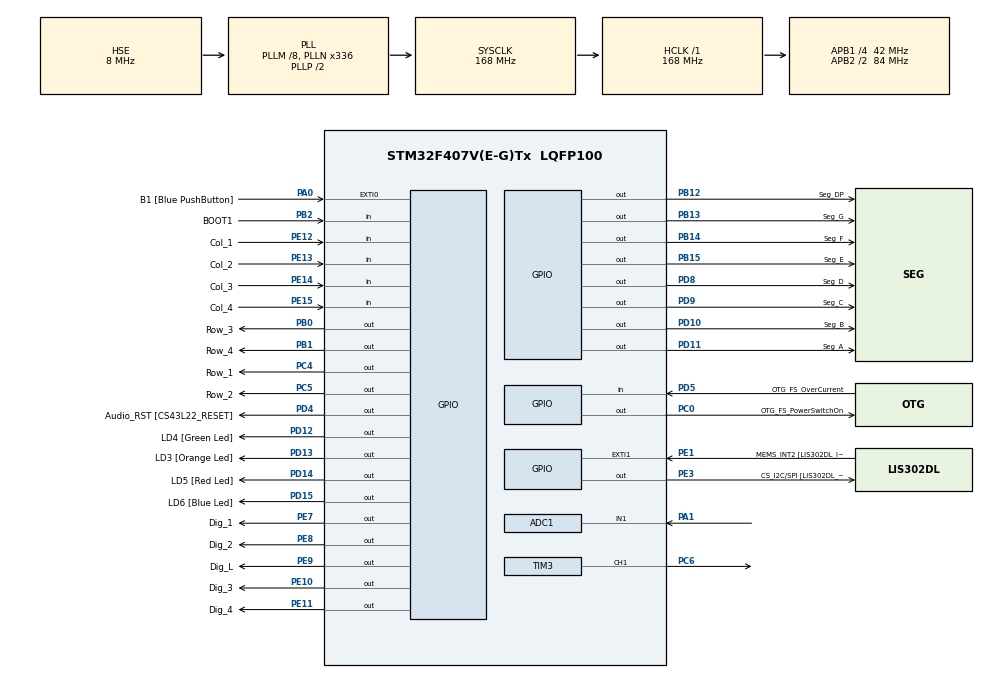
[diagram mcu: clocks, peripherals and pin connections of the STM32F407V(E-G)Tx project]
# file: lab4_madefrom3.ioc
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ADC1.Channel-0\#ChannelRegularConversion=ADC_CHANNEL_1
ADC1.ClockPrescaler=ADC_CLOCK_SYNC_PCLK_DIV4
ADC1.ContinuousConvMode=DISABLE
ADC1.DMAContinuousRequests=DISABLE
ADC1.DataAlign=ADC_DATAALIGN_RIGHT
ADC1.DiscontinuousConvMode=DISABLE
ADC1.EOCSelection=ADC_EOC_SINGLE_CONV
ADC1.EnableAnalogWatchDog=false
ADC1.ExternalTrigConv=ADC_EXTERNALTRIGCONV_T2_TRGO
ADC1.ExternalTrigConvEdge=ADC_EXTERNALTRIGCONVEDGE_RISING
ADC1.InjNumberOfConversion=0
ADC1.NbrOfConversion=1
ADC1.NbrOfConversionFlag=1
ADC1.Rank-0\#ChannelRegularConversion=1
ADC1.Resolution=ADC_RESOLUTION_10B
ADC1.SamplingTime-0\#ChannelRegularConversion=ADC_SAMPLETIME_3CYCLES
ADC1.ScanConvMode=DISABLE
ADC1.master=1
FREERTOS.BinarySemaphores01=key_sem,Dynamic,NULL
FREERTOS.Tasks01=defaultTask,0,128,StartDefaultTask,Default,NULL,Dynamic,NULL,NULL;ADC_calc,-3,256,Start_ADC_calc,Default,NULL,Dynamic,NULL,NULL;display,-3,128,Start_display,Default,NULL,Dynamic,NULL,NULL;PWM_control,-3,256,Start_PWM_control,Default,NULL,Dynamic,NULL,NULL;state_control,0,256,Start_state_control,Default,NULL,Dynamic,NULL,NULL;pad_read,-3,256,Start_pad_read,Default,NULL,Dynamic,NULL,NULL
Mcu.Family=STM32F4
Mcu.Name=STM32F407V(E-G)Tx
Mcu.Package=LQFP100
NVIC.ADC_IRQn=true\:5\:0\:false\:false\:true\:true\:true
NVIC.PriorityGroup=NVIC_PRIORITYGROUP_4
NVIC.TIM2_IRQn=true\:5\:0\:false\:false\:true\:true\:true
PA0-WKUP.GPIO_Label=B1 [Blue PushButton]
PA0-WKUP.GPIO_ModeDefaultEXTI=GPIO_MODE_EVT_RISING
PA0-WKUP.GPIO_PuPd=GPIO_NOPULL
PA0-WKUP.Signal=GPXTI0
PA1.Signal=ADCx_IN1
PA10.GPIO_Label=OTG_FS_ID
PA10.GPIO_Mode=GPIO_MODE_AF_PP
PA10.GPIO_PuPd=GPIO_NOPULL
PA10.GPIO_Speed=GPIO_SPEED_FREQ_LOW
PA10.Signal=USB_OTG_FS_ID
PA11.GPIO_Label=OTG_FS_DM
PA11.GPIO_Mode=GPIO_MODE_AF_PP
PA11.GPIO_PuPd=GPIO_NOPULL
PA11.GPIO_Speed=GPIO_SPEED_FREQ_LOW
PA11.Signal=USB_OTG_FS_DM
PA12.GPIO_Label=OTG_FS_DP
PA12.GPIO_Mode=GPIO_MODE_AF_PP
PA12.GPIO_PuPd=GPIO_NOPULL
PA12.GPIO_Speed=GPIO_SPEED_FREQ_LOW
PA12.Signal=USB_OTG_FS_DP
PA13.GPIO_Label=SWDIO
PA13.Mode=Serial_Wire
PA13.Signal=SYS_JTMS-SWDIO
PA14.GPIO_Label=SWCLK
PA14.Mode=Serial_Wire
PA14.Signal=SYS_JTCK-SWCLK
PA4.GPIO_Label=I2S3_WS [CS43L22_LRCK]
PA4.GPIO_Mode=GPIO_MODE_AF_PP
PA4.GPIO_PuPd=GPIO_NOPULL
PA4.GPIO_Speed=GPIO_SPEED_FREQ_LOW
PA4.Signal=I2S3_WS
PA5.GPIO_Label=SPI1_SCK [LIS302DL_SCL/SPC]
PA5.GPIO_Mode=GPIO_MODE_AF_PP
PA5.GPIO_PuPd=GPIO_NOPULL
PA5.GPIO_Speed=GPIO_SPEED_FREQ_LOW
PA5.Signal=SPI1_SCK
PA6.GPIO_Label=SPI1_MISO [LIS302DL_SDO]
PA6.GPIO_Mode=GPIO_MODE_AF_PP
PA6.GPIO_PuPd=GPIO_NOPULL
PA6.GPIO_Speed=GPIO_SPEED_FREQ_LOW
PA6.Signal=SPI1_MISO
PA7.GPIO_Label=SPI1_MOSI [LIS302DL_SDA/SDI/SDO]
PA7.GPIO_Mode=GPIO_MODE_AF_PP
PA7.GPIO_PuPd=GPIO_NOPULL
PA7.GPIO_Speed=GPIO_SPEED_FREQ_LOW
PA7.Signal=SPI1_MOSI
PA9.GPIO_Label=VBUS_FS
PA9.GPIO_Mode=GPIO_MODE_INPUT
PA9.GPIO_PuPd=GPIO_NOPULL
PA9.Signal=USB_OTG_FS_VBUS
PB0.GPIO_Label=Row_3
PB0.Signal=GPIO_Output
PB1.GPIO_Label=Row_4
PB1.Signal=GPIO_Output
PB10.GPIO_Label=CLK_IN [MP45DT02_CLK]
PB10.GPIO_Mode=GPIO_MODE_AF_PP
PB10.GPIO_PuPd=GPIO_NOPULL
PB10.GPIO_Speed=GPIO_SPEED_FREQ_LOW
PB10.Signal=I2S2_CK
PB12.GPIO_Label=Seg_DP
PB12.Signal=GPIO_Output
PB13.GPIO_Label=Seg_G
PB13.Signal=GPIO_Output
PB14.GPIO_Label=Seg_F
PB14.Signal=GPIO_Output
PB15.GPIO_Label=Seg_E
PB15.Signal=GPIO_Output
PB2.GPIO_Label=BOOT1
PB2.GPIO_Mode=GPIO_MODE_INPUT
PB2.GPIO_PuPd=GPIO_NOPULL
PB2.Signal=GPIO_Input
PB3.GPIO_Label=SWO
PB3.Signal=SYS_JTDO-SWO
PB6.GPIO_Label=Audio_SCL [CS43L22_SCL]
PB6.GPIO_Mode=GPIO_MODE_AF_OD
PB6.GPIO_PuPd=GPIO_NOPULL
PB6.GPIO_Speed=GPIO_SPEED_FREQ_LOW
PB6.Signal=I2C1_SCL
PB9.GPIO_Label=Audio_SDA [CS43L22_SDA]
PB9.GPIO_Mode=GPIO_MODE_AF_OD
PB9.GPIO_PuPd=GPIO_NOPULL
PB9.GPIO_Speed=GPIO_SPEED_FREQ_LOW
PB9.Signal=I2C1_SDA
PC0.GPIO_Label=OTG_FS_PowerSwitchOn
PC0.GPIO_PuPd=GPIO_NOPULL
PC0.GPIO_Speed=GPIO_SPEED_FREQ_LOW
PC0.PinState=GPIO_PIN_SET
PC0.Signal=GPIO_Output
PC10.GPIO_Label=I2S3_SCK [CS43L22_SCLK]
PC10.GPIO_Mode=GPIO_MODE_AF_PP
PC10.GPIO_PuPd=GPIO_NOPULL
PC10.GPIO_Speed=GPIO_SPEED_FREQ_LOW
PC10.Signal=I2S3_CK
PC12.GPIO_Label=I2S3_SD [CS43L22_SDIN]
PC12.GPIO_Mode=GPIO_MODE_AF_PP
PC12.GPIO_PuPd=GPIO_NOPULL
PC12.GPIO_Speed=GPIO_SPEED_FREQ_LOW
PC12.Signal=I2S3_SD
PC14-OSC32_IN.GPIO_Label=PC14-OSC32_IN
PC14-OSC32_IN.Mode=LSE-External-Oscillator
PC14-OSC32_IN.Signal=RCC_OSC32_IN
PC15-OSC32_OUT.GPIO_Label=PC15-OSC32_OUT
PC15-OSC32_OUT.Mode=LSE-External-Oscillator
PC15-OSC32_OUT.Signal=RCC_OSC32_OUT
PC3.GPIO_Label=PDM_OUT [MP45DT02_DOUT]
PC3.GPIO_Mode=GPIO_MODE_AF_PP
PC3.GPIO_PuPd=GPIO_NOPULL
PC3.GPIO_Speed=GPIO_SPEED_FREQ_LOW
PC3.Signal=I2S2_SD
PC4.GPIO_Label=Row_1
PC4.Signal=GPIO_Output
PC5.GPIO_Label=Row_2
PC5.Signal=GPIO_Output
PC6.Signal=S_TIM3_CH1
PC7.GPIO_Label=I2S3_MCK [CS43L22_MCLK]
PC7.GPIO_Mode=GPIO_MODE_AF_PP
PC7.GPIO_PuPd=GPIO_NOPULL
PC7.GPIO_Speed=GPIO_SPEED_FREQ_LOW
PC7.Signal=I2S3_MCK
PD10.GPIO_Label=Seg_B
PD10.Signal=GPIO_Output
PD11.GPIO_Label=Seg_A
PD11.Signal=GPIO_Output
PD12.GPIO_Label=LD4 [Green Led]
PD12.GPIO_PuPd=GPIO_NOPULL
PD12.GPIO_Speed=GPIO_SPEED_FREQ_LOW
PD12.Signal=GPIO_Output
PD13.GPIO_Label=LD3 [Orange Led]
PD13.GPIO_PuPd=GPIO_NOPULL
PD13.GPIO_Speed=GPIO_SPEED_FREQ_LOW
PD13.Signal=GPIO_Output
PD14.GPIO_Label=LD5 [Red Led]
PD14.GPIO_PuPd=GPIO_NOPULL
PD14.GPIO_Speed=GPIO_SPEED_FREQ_LOW
PD14.Signal=GPIO_Output
PD15.GPIO_Label=LD6 [Blue Led]
PD15.GPIO_PuPd=GPIO_NOPULL
PD15.GPIO_Speed=GPIO_SPEED_FREQ_LOW
PD15.Signal=GPIO_Output
PD4.GPIO_Label=Audio_RST [CS43L22_RESET]
PD4.GPIO_PuPd=GPIO_NOPULL
PD4.GPIO_Speed=GPIO_SPEED_FREQ_LOW
PD4.Signal=GPIO_Output
PD5.GPIO_Label=OTG_FS_OverCurrent
PD5.GPIO_Mode=GPIO_MODE_INPUT
PD5.GPIO_PuPd=GPIO_NOPULL
PD5.Signal=GPIO_Input
PD8.GPIO_Label=Seg_D
PD8.Signal=GPIO_Output
PD9.GPIO_Label=Seg_C
PD9.Signal=GPIO_Output
PE1.GPIO_Label=MEMS_INT2 [LIS302DL_INT2]
PE1.GPIO_ModeDefaultEXTI=GPIO_MODE_EVT_RISING
PE1.GPIO_PuPd=GPIO_NOPULL
PE1.Signal=GPXTI1
PE10.GPIO_Label=Dig_3
PE10.Signal=GPIO_Output
PE11.GPIO_Label=Dig_4
PE11.Signal=GPIO_Output
PE12.GPIO_Label=Col_1
PE12.Signal=GPIO_Input
PE13.GPIO_Label=Col_2
PE13.Signal=GPIO_Input
PE14.GPIO_Label=Col_3
PE14.Signal=GPIO_Input
PE15.GPIO_Label=Col_4
PE15.Signal=GPIO_Input
PE3.GPIO_Label=CS_I2C/SPI [LIS302DL_CS_I2C/SPI]
PE3.GPIO_PuPd=GPIO_NOPULL
PE3.GPIO_Speed=GPIO_SPEED_FREQ_LOW
PE3.Signal=GPIO_Output
PE7.GPIO_Label=Dig_1
PE7.Signal=GPIO_Output
PE8.GPIO_Label=Dig_2
PE8.Signal=GPIO_Output
PE9.GPIO_Label=Dig_L
PE9.Signal=GPIO_Output
PH0-OSC_IN.GPIO_Label=PH0-OSC_IN
PH0-OSC_IN.Mode=HSE-External-Oscillator
PH0-OSC_IN.Signal=RCC_OSC_IN
PH1-OSC_OUT.GPIO_Label=PH1-OSC_OUT
PH1-OSC_OUT.Mode=HSE-External-Oscillator
PH1-OSC_OUT.Signal=RCC_OSC_OUT
ProjectManager.HeapSize=0x200
ProjectManager.StackSize=0x400
ProjectManager.TargetToolchain=MDK-ARM V5
RCC.48MHZClocksFreq_Value=48000000
RCC.AHBFreq_Value=168000000
RCC.APB1CLKDivider=RCC_HCLK_DIV4
RCC.APB1Freq_Value=42000000
RCC.APB1TimFreq_Value=84000000
RCC.APB2CLKDivider=RCC_HCLK_DIV2
RCC.APB2Freq_Value=84000000
RCC.APB2TimFreq_Value=168000000
RCC.CortexFreq_Value=168000000
RCC.HCLKFreq_Value=168000000
RCC.HSE_VALUE=8000000
RCC.HSI_VALUE=16000000
RCC.PLLM=8
RCC.PLLN=336
RCC.PLLQ=7
RCC.PLLSourceVirtual=RCC_PLLSOURCE_HSE
RCC.SYSCLKFreq_VALUE=168000000
RCC.SYSCLKSource=RCC_SYSCLKSOURCE_PLLCLK
RCC.VCOOutputFreq_Value=336000000
SH.ADCx_IN1.0=ADC1_IN1,IN1
SH.S_TIM3_CH1.0=TIM3_CH1,PWM Generation1 CH1
TIM2.Period=1000
TIM2.Prescaler=82
TIM2.TIM_MasterOutputTrigger=TIM_TRGO_UPDATE
TIM3.Channel-PWM\ Generation1\ CH1=TIM_CHANNEL_1
TIM3.Period=1000
TIM3.Prescaler=42
TIM3.Pulse-PWM\ Generation1\ CH1=50
VP_FREERTOS_VS_ENABLE.Mode=Enabled
VP_TIM2_VS_ClockSourceINT.Mode=Internal
VP_TIM3_VS_ClockSourceINT.Mode=Internal
board=STM32F4DISCOVERY

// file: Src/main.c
/**
  ******************************************************************************
  * @file           : main.c
  * @brief          : Main program body
  ******************************************************************************
  * This notice applies to any and all portions of this file
  * that are not between comment pairs USER CODE BEGIN and
  * USER CODE END. Other portions of this file, whether
  * inserted by the user or by software development tools
  * are owned by their respective copyright owners.
  *
  * Copyright (c) 2018 STMicroelectronics International N.V.
  * All rights reserved.
  *
  * Redistribution and use in source and binary forms, with or without
  * modification, are permitted, provided that the following conditions are met:
  *
  * 1. Redistribution of source code must retain the above copyright notice,
  *    this list of conditions and the following disclaimer.
  * 2. Redistributions in binary form must reproduce the above copyright notice,
  *    this list of conditions and the following disclaimer in the documentation
  *    and/or other materials provided with the distribution.
  * 3. Neither the name of STMicroelectronics nor the names of other
  *    contributors to this software may be used to endorse or promote products
  *    derived from this software without specific written permission.
  * 4. This software, including modifications and/or derivative works of this
  *    software, must execute solely and exclusively on microcontroller or
  *    microprocessor devices manufactured by or for STMicroelectronics.
  * 5. Redistribution and use of this software other than as permitted under
  *    this license is void and will automatically terminate your rights under
  *    this license.
  *
  * THIS SOFTWARE IS PROVIDED BY STMICROELECTRONICS AND CONTRIBUTORS "AS IS"
  * AND ANY EXPRESS, IMPLIED OR STATUTORY WARRANTIES, INCLUDING, BUT NOT
  * LIMITED TO, THE IMPLIED WARRANTIES OF MERCHANTABILITY, FITNESS FOR A
  * PARTICULAR PURPOSE AND NON-INFRINGEMENT OF THIRD PARTY INTELLECTUAL PROPERTY
  * RIGHTS ARE DISCLAIMED TO THE FULLEST EXTENT PERMITTED BY LAW. IN NO EVENT
  * SHALL STMICROELECTRONICS OR CONTRIBUTORS BE LIABLE FOR ANY DIRECT, INDIRECT,
  * INCIDENTAL, SPECIAL, EXEMPLARY, OR CONSEQUENTIAL DAMAGES (INCLUDING, BUT NOT
  * LIMITED TO, PROCUREMENT OF SUBSTITUTE GOODS OR SERVICES; LOSS OF USE, DATA,
  * OR PROFITS; OR BUSINESS INTERRUPTION) HOWEVER CAUSED AND ON ANY THEORY OF
  * LIABILITY, WHETHER IN CONTRACT, STRICT LIABILITY, OR TORT (INCLUDING
  * NEGLIGENCE OR OTHERWISE) ARISING IN ANY WAY OUT OF THE USE OF THIS SOFTWARE,
  * EVEN IF ADVISED OF THE POSSIBILITY OF SUCH DAMAGE.
  *
  ******************************************************************************
  */
#include "main.h"
#include "stm32f4xx_hal.h"
#include "cmsis_os.h"

/* USER CODE BEGIN Includes */
#include <math.h>
/* USER CODE END Includes */

ADC_HandleTypeDef hadc1;

TIM_HandleTypeDef htim2;
TIM_HandleTypeDef htim3;

osThreadId defaultTaskHandle;
osThreadId ADC_calcHandle;
osThreadId displayHandle;
osThreadId PWM_controlHandle;
osThreadId state_controlHandle;
osThreadId pad_readHandle;
osSemaphoreId key_semHandle;

/* USER CODE BEGIN PV */
/* Private variables ---------------------------------------------------------*/

int sampleNB = 40; //CHANGE FOR SAMPLE NUMBER
int sample = 0;

uint16_t dutyCycle = 10;

#define MATH_ARRAY_SIZE 5
#define WKEY1 0
#define WKEY2 1
#define WENTER 2
#define DISPLAY 3
#define SLEEP 4
#define samplesize 40

int correctCounter=0;
int correctPeriod = 5;

int displayMode = 0;
float filterMemory [] = {0, 0, 0, 0, 0};
int adc_val;
float filtered_adc;
float mathResults [MATH_ARRAY_SIZE];
extern uint8_t systickFlag;

float dispNum = 0;
int padEntries [] = {0, 0, 0, 0};
int padVal = -1;

int padFlag = 0;
int holdingFlag = 0;
int correctFlag = 0;
int timer = 0;

int holdCount = 0;
int highPeriods = 100;
int state = WKEY1;

float data [samplesize];

/* USER CODE END PV */

void SystemClock_Config(void);
static void MX_GPIO_Init(void);
static void MX_ADC1_Init(void);
static void MX_TIM3_Init(void);
static void MX_TIM2_Init(void);
void StartDefaultTask(void const * argument);
void Start_ADC_calc(void const * argument);
void Start_display(void const * argument);
void Start_PWM_control(void const * argument);
void Start_state_control(void const * argument);
void Start_pad_read(void const * argument);

void HAL_TIM_MspPostInit(TIM_HandleTypeDef *htim);

/* USER CODE BEGIN PFP */
/* Private function prototypes -----------------------------------------------*/

void FIR_C(float input, float *output);
int buttonPressed(void);
void displayNum (int num, int pos);
void C_math (float * inputArray, float * outputArray, int length);
void display (int mode, float num);
int readPad (void);
void updateEnt (int newEnt);
void pwmSetValue(uint16_t pulseValue);
void set_highPeriods(int current_period);

/* USER CODE END PFP */

int main(void)
{

  /* MCU Configuration----------------------------------------------------------*/

  /* Reset of all peripherals, Initializes the Flash interface and the Systick. */
  HAL_Init();

  /* Configure the system clock */
  SystemClock_Config();

  /* Initialize all configured peripherals */
  MX_GPIO_Init();
  MX_ADC1_Init();
  MX_TIM3_Init();
  MX_TIM2_Init();
  /* USER CODE BEGIN 2 */

	HAL_TIM_PWM_Start(&htim3, TIM_CHANNEL_1);
	HAL_TIM_Base_Start(&htim2);
	HAL_ADC_Start_IT(&hadc1);

  /* USER CODE END 2 */

  /* Create the semaphores(s) */
  /* definition and creation of key_sem */
  osSemaphoreDef(key_sem);
  key_semHandle = osSemaphoreCreate(osSemaphore(key_sem), 1);

  /* Create the thread(s) */
  /* definition and creation of defaultTask */
  osThreadDef(defaultTask, StartDefaultTask, osPriorityNormal, 0, 128);
  defaultTaskHandle = osThreadCreate(osThread(defaultTask), NULL);

  /* definition and creation of ADC_calc */
  osThreadDef(ADC_calc, Start_ADC_calc, osPriorityIdle, 0, 256);
  ADC_calcHandle = osThreadCreate(osThread(ADC_calc), NULL);

  /* definition and creation of display */
  osThreadDef(display, Start_display, osPriorityIdle, 0, 128);
  displayHandle = osThreadCreate(osThread(display), NULL);

  /* definition and creation of PWM_control */
  osThreadDef(PWM_control, Start_PWM_control, osPriorityIdle, 0, 256);
  PWM_controlHandle = osThreadCreate(osThread(PWM_control), NULL);

  /* definition and creation of state_control */
  osThreadDef(state_control, Start_state_control, osPriorityNormal, 0, 256);
  state_controlHandle = osThreadCreate(osThread(state_control), NULL);

  /* definition and creation of pad_read */
  osThreadDef(pad_read, Start_pad_read, osPriorityIdle, 0, 256);
  pad_readHandle = osThreadCreate(osThread(pad_read), NULL);

  /* Start scheduler */
  osKernelStart();

  /* We should never get here as control is now taken by the scheduler */

  /* Infinite loop */
  while (1)
  {

  }

}

void SystemClock_Config(void)
{

  RCC_OscInitTypeDef RCC_OscInitStruct;
  RCC_ClkInitTypeDef RCC_ClkInitStruct;

    /**Configure the main internal regulator output voltage
    */
  __HAL_RCC_PWR_CLK_ENABLE();

  __HAL_PWR_VOLTAGESCALING_CONFIG(PWR_REGULATOR_VOLTAGE_SCALE1);

    /**Initializes the CPU, AHB and APB busses clocks
    */
  RCC_OscInitStruct.OscillatorType = RCC_OSCILLATORTYPE_HSE;
  RCC_OscInitStruct.HSEState = RCC_HSE_ON;
  RCC_OscInitStruct.PLL.PLLState = RCC_PLL_ON;
  RCC_OscInitStruct.PLL.PLLSource = RCC_PLLSOURCE_HSE;
  RCC_OscInitStruct.PLL.PLLM = 8;
  RCC_OscInitStruct.PLL.PLLN = 336;
  RCC_OscInitStruct.PLL.PLLP = RCC_PLLP_DIV2;
  RCC_OscInitStruct.PLL.PLLQ = 7;
  if (HAL_RCC_OscConfig(&RCC_OscInitStruct) != HAL_OK)
  {
    _Error_Handler(__FILE__, __LINE__);
  }

    /**Initializes the CPU, AHB and APB busses clocks
    */
  RCC_ClkInitStruct.ClockType = RCC_CLOCKTYPE_HCLK|RCC_CLOCKTYPE_SYSCLK
                              |RCC_CLOCKTYPE_PCLK1|RCC_CLOCKTYPE_PCLK2;
  RCC_ClkInitStruct.SYSCLKSource = RCC_SYSCLKSOURCE_PLLCLK;
  RCC_ClkInitStruct.AHBCLKDivider = RCC_SYSCLK_DIV1;
  RCC_ClkInitStruct.APB1CLKDivider = RCC_HCLK_DIV4;
  RCC_ClkInitStruct.APB2CLKDivider = RCC_HCLK_DIV2;

  if (HAL_RCC_ClockConfig(&RCC_ClkInitStruct, FLASH_LATENCY_5) != HAL_OK)
  {
    _Error_Handler(__FILE__, __LINE__);
  }

    /**Configure the Systick interrupt time
    */
  HAL_SYSTICK_Config(HAL_RCC_GetHCLKFreq()/1000);

    /**Configure the Systick
    */
  HAL_SYSTICK_CLKSourceConfig(SYSTICK_CLKSOURCE_HCLK);

  /* SysTick_IRQn interrupt configuration */
  HAL_NVIC_SetPriority(SysTick_IRQn, 15, 0);
}

/* ADC1 init function */
static void MX_ADC1_Init(void)
{

  ADC_ChannelConfTypeDef sConfig;

    /**Configure the global features of the ADC (Clock, Resolution, Data Alignment and number of conversion)
    */
  hadc1.Instance = ADC1;
  hadc1.Init.ClockPrescaler = ADC_CLOCK_SYNC_PCLK_DIV4;
  hadc1.Init.Resolution = ADC_RESOLUTION_12B;
  hadc1.Init.ScanConvMode = DISABLE;
  hadc1.Init.ContinuousConvMode = DISABLE;
  hadc1.Init.DiscontinuousConvMode = DISABLE;
  hadc1.Init.ExternalTrigConvEdge = ADC_EXTERNALTRIGCONVEDGE_RISING;
  hadc1.Init.ExternalTrigConv = ADC_EXTERNALTRIGCONV_T2_TRGO;
  hadc1.Init.DataAlign = ADC_DATAALIGN_RIGHT;
  hadc1.Init.NbrOfConversion = 1;
  hadc1.Init.DMAContinuousRequests = DISABLE;
  hadc1.Init.EOCSelection = ADC_EOC_SINGLE_CONV;
  if (HAL_ADC_Init(&hadc1) != HAL_OK)
  {
    _Error_Handler(__FILE__, __LINE__);
  }

    /**Configure for the selected ADC regular channel its corresponding rank in the sequencer and its sample time.
    */
  sConfig.Channel = ADC_CHANNEL_1;
  sConfig.Rank = 1;
  sConfig.SamplingTime = ADC_SAMPLETIME_3CYCLES;
  if (HAL_ADC_ConfigChannel(&hadc1, &sConfig) != HAL_OK)
  {
    _Error_Handler(__FILE__, __LINE__);
  }

}

/* TIM2 init function */
static void MX_TIM2_Init(void)
{

  TIM_ClockConfigTypeDef sClockSourceConfig;
  TIM_MasterConfigTypeDef sMasterConfig;

  htim2.Instance = TIM2;
  htim2.Init.Prescaler = 82;
  htim2.Init.CounterMode = TIM_COUNTERMODE_UP;
  htim2.Init.Period = 1000;
  htim2.Init.ClockDivision = TIM_CLOCKDIVISION_DIV1;
  if (HAL_TIM_Base_Init(&htim2) != HAL_OK)
  {
    _Error_Handler(__FILE__, __LINE__);
  }

  sClockSourceConfig.ClockSource = TIM_CLOCKSOURCE_INTERNAL;
  if (HAL_TIM_ConfigClockSource(&htim2, &sClockSourceConfig) != HAL_OK)
  {
    _Error_Handler(__FILE__, __LINE__);
  }

  sMasterConfig.MasterOutputTrigger = TIM_TRGO_UPDATE;
  sMasterConfig.MasterSlaveMode = TIM_MASTERSLAVEMODE_DISABLE;
  if (HAL_TIMEx_MasterConfigSynchronization(&htim2, &sMasterConfig) != HAL_OK)
  {
    _Error_Handler(__FILE__, __LINE__);
  }

}

/* TIM3 init function */
static void MX_TIM3_Init(void)
{

  TIM_ClockConfigTypeDef sClockSourceConfig;
  TIM_MasterConfigTypeDef sMasterConfig;
  TIM_OC_InitTypeDef sConfigOC;

  htim3.Instance = TIM3;
  htim3.Init.Prescaler = 42;
  htim3.Init.CounterMode = TIM_COUNTERMODE_UP;
  htim3.Init.Period = 1000;
  htim3.Init.ClockDivision = TIM_CLOCKDIVISION_DIV1;
  if (HAL_TIM_Base_Init(&htim3) != HAL_OK)
  {
    _Error_Handler(__FILE__, __LINE__);
  }

  sClockSourceConfig.ClockSource = TIM_CLOCKSOURCE_INTERNAL;
  if (HAL_TIM_ConfigClockSource(&htim3, &sClockSourceConfig) != HAL_OK)
  {
    _Error_Handler(__FILE__, __LINE__);
  }

  if (HAL_TIM_PWM_Init(&htim3) != HAL_OK)
  {
    _Error_Handler(__FILE__, __LINE__);
  }

  sMasterConfig.MasterOutputTrigger = TIM_TRGO_RESET;
  sMasterConfig.MasterSlaveMode = TIM_MASTERSLAVEMODE_DISABLE;
  if (HAL_TIMEx_MasterConfigSynchronization(&htim3, &sMasterConfig) != HAL_OK)
  {
    _Error_Handler(__FILE__, __LINE__);
  }

  sConfigOC.OCMode = TIM_OCMODE_PWM1;
  sConfigOC.Pulse = 50;
  sConfigOC.OCPolarity = TIM_OCPOLARITY_HIGH;
  sConfigOC.OCFastMode = TIM_OCFAST_DISABLE;
  if (HAL_TIM_PWM_ConfigChannel(&htim3, &sConfigOC, TIM_CHANNEL_1) != HAL_OK)
  {
    _Error_Handler(__FILE__, __LINE__);
  }

  HAL_TIM_MspPostInit(&htim3);

}

/** Configure pins as
        * Analog
        * Input
        * Output
        * EVENT_OUT
        * EXTI
     PC3   ------> I2S2_SD
     PA4   ------> I2S3_WS
     PA5   ------> SPI1_SCK
     PA6   ------> SPI1_MISO
     PA7   ------> SPI1_MOSI
     PB10   ------> I2S2_CK
     PC7   ------> I2S3_MCK
     PA9   ------> USB_OTG_FS_VBUS
     PA10   ------> USB_OTG_FS_ID
     PA11   ------> USB_OTG_FS_DM
     PA12   ------> USB_OTG_FS_DP
     PC10   ------> I2S3_CK
     PC12   ------> I2S3_SD
     PB6   ------> I2C1_SCL
     PB9   ------> I2C1_SDA
*/
static void MX_GPIO_Init(void)
{

  GPIO_InitTypeDef GPIO_InitStruct;

  /* GPIO Ports Clock Enable */
  __HAL_RCC_GPIOE_CLK_ENABLE();
  __HAL_RCC_GPIOC_CLK_ENABLE();
  __HAL_RCC_GPIOH_CLK_ENABLE();
  __HAL_RCC_GPIOA_CLK_ENABLE();
  __HAL_RCC_GPIOB_CLK_ENABLE();
  __HAL_RCC_GPIOD_CLK_ENABLE();

  /*Configure GPIO pin Output Level */
  HAL_GPIO_WritePin(GPIOE, CS_I2C_SPI_Pin|Dig_1_Pin|Dig_2_Pin|Dig_L_Pin
                          |Dig_3_Pin|Dig_4_Pin, GPIO_PIN_RESET);

  /*Configure GPIO pin Output Level */
  HAL_GPIO_WritePin(OTG_FS_PowerSwitchOn_GPIO_Port, OTG_FS_PowerSwitchOn_Pin, GPIO_PIN_SET);

  /*Configure GPIO pin Output Level */
  HAL_GPIO_WritePin(GPIOC, Row_1_Pin|Row_2_Pin, GPIO_PIN_RESET);

  /*Configure GPIO pin Output Level */
  HAL_GPIO_WritePin(GPIOB, Row_3_Pin|Row_4_Pin|Seg_DP_Pin|Seg_G_Pin
                          |Seg_F_Pin|Seg_E_Pin, GPIO_PIN_RESET);

  /*Configure GPIO pin Output Level */
  HAL_GPIO_WritePin(GPIOD, Seg_D_Pin|Seg_C_Pin|Seg_B_Pin|Seg_A_Pin
                          |LD4_Pin|LD3_Pin|LD5_Pin|LD6_Pin
                          |Audio_RST_Pin, GPIO_PIN_RESET);

  /*Configure GPIO pins : CS_I2C_SPI_Pin Dig_1_Pin Dig_2_Pin Dig_L_Pin
                           Dig_3_Pin Dig_4_Pin */
  GPIO_InitStruct.Pin = CS_I2C_SPI_Pin|Dig_1_Pin|Dig_2_Pin|Dig_L_Pin
                          |Dig_3_Pin|Dig_4_Pin;
  GPIO_InitStruct.Mode = GPIO_MODE_OUTPUT_PP;
  GPIO_InitStruct.Pull = GPIO_NOPULL;
  GPIO_InitStruct.Speed = GPIO_SPEED_FREQ_LOW;
  HAL_GPIO_Init(GPIOE, &GPIO_InitStruct);

  /*Configure GPIO pins : OTG_FS_PowerSwitchOn_Pin Row_1_Pin Row_2_Pin */
  GPIO_InitStruct.Pin = OTG_FS_PowerSwitchOn_Pin|Row_1_Pin|Row_2_Pin;
  GPIO_InitStruct.Mode = GPIO_MODE_OUTPUT_PP;
  GPIO_InitStruct.Pull = GPIO_NOPULL;
  GPIO_InitStruct.Speed = GPIO_SPEED_FREQ_LOW;
  HAL_GPIO_Init(GPIOC, &GPIO_InitStruct);

  /*Configure GPIO pin : PDM_OUT_Pin */
  GPIO_InitStruct.Pin = PDM_OUT_Pin;
  GPIO_InitStruct.Mode = GPIO_MODE_AF_PP;
  GPIO_InitStruct.Pull = GPIO_NOPULL;
  GPIO_InitStruct.Speed = GPIO_SPEED_FREQ_LOW;
  GPIO_InitStruct.Alternate = GPIO_AF5_SPI2;
  HAL_GPIO_Init(PDM_OUT_GPIO_Port, &GPIO_InitStruct);

  /*Configure GPIO pin : B1_Pin */
  GPIO_InitStruct.Pin = B1_Pin;
  GPIO_InitStruct.Mode = GPIO_MODE_EVT_RISING;
  GPIO_InitStruct.Pull = GPIO_NOPULL;
  HAL_GPIO_Init(B1_GPIO_Port, &GPIO_InitStruct);

  /*Configure GPIO pin : I2S3_WS_Pin */
  GPIO_InitStruct.Pin = I2S3_WS_Pin;
  GPIO_InitStruct.Mode = GPIO_MODE_AF_PP;
  GPIO_InitStruct.Pull = GPIO_NOPULL;
  GPIO_InitStruct.Speed = GPIO_SPEED_FREQ_LOW;
  GPIO_InitStruct.Alternate = GPIO_AF6_SPI3;
  HAL_GPIO_Init(I2S3_WS_GPIO_Port, &GPIO_InitStruct);

  /*Configure GPIO pins : SPI1_SCK_Pin SPI1_MISO_Pin SPI1_MOSI_Pin */
  GPIO_InitStruct.Pin = SPI1_SCK_Pin|SPI1_MISO_Pin|SPI1_MOSI_Pin;
  GPIO_InitStruct.Mode = GPIO_MODE_AF_PP;
  GPIO_InitStruct.Pull = GPIO_NOPULL;
  GPIO_InitStruct.Speed = GPIO_SPEED_FREQ_LOW;
  GPIO_InitStruct.Alternate = GPIO_AF5_SPI1;
  HAL_GPIO_Init(GPIOA, &GPIO_InitStruct);

  /*Configure GPIO pins : Row_3_Pin Row_4_Pin Seg_DP_Pin Seg_G_Pin
                           Seg_F_Pin Seg_E_Pin */
  GPIO_InitStruct.Pin = Row_3_Pin|Row_4_Pin|Seg_DP_Pin|Seg_G_Pin
                          |Seg_F_Pin|Seg_E_Pin;
  GPIO_InitStruct.Mode = GPIO_MODE_OUTPUT_PP;
  GPIO_InitStruct.Pull = GPIO_NOPULL;
  GPIO_InitStruct.Speed = GPIO_SPEED_FREQ_LOW;
  HAL_GPIO_Init(GPIOB, &GPIO_InitStruct);

  /*Configure GPIO pin : BOOT1_Pin */
  GPIO_InitStruct.Pin = BOOT1_Pin;
  GPIO_InitStruct.Mode = GPIO_MODE_INPUT;
  GPIO_InitStruct.Pull = GPIO_NOPULL;
  HAL_GPIO_Init(BOOT1_GPIO_Port, &GPIO_InitStruct);

  /*Configure GPIO pins : Col_1_Pin Col_2_Pin Col_3_Pin Col_4_Pin */
  GPIO_InitStruct.Pin = Col_1_Pin|Col_2_Pin|Col_3_Pin|Col_4_Pin;
  GPIO_InitStruct.Mode = GPIO_MODE_INPUT;
  GPIO_InitStruct.Pull = GPIO_NOPULL;
  HAL_GPIO_Init(GPIOE, &GPIO_InitStruct);

  /*Configure GPIO pin : CLK_IN_Pin */
  GPIO_InitStruct.Pin = CLK_IN_Pin;
  GPIO_InitStruct.Mode = GPIO_MODE_AF_PP;
  GPIO_InitStruct.Pull = GPIO_NOPULL;
  GPIO_InitStruct.Speed = GPIO_SPEED_FREQ_LOW;
  GPIO_InitStruct.Alternate = GPIO_AF5_SPI2;
  HAL_GPIO_Init(CLK_IN_GPIO_Port, &GPIO_InitStruct);

  /*Configure GPIO pins : Seg_D_Pin Seg_C_Pin Seg_B_Pin Seg_A_Pin
                           LD4_Pin LD3_Pin LD5_Pin LD6_Pin
                           Audio_RST_Pin */
  GPIO_InitStruct.Pin = Seg_D_Pin|Seg_C_Pin|Seg_B_Pin|Seg_A_Pin
                          |LD4_Pin|LD3_Pin|LD5_Pin|LD6_Pin
                          |Audio_RST_Pin;
  GPIO_InitStruct.Mode = GPIO_MODE_OUTPUT_PP;
  GPIO_InitStruct.Pull = GPIO_NOPULL;
  GPIO_InitStruct.Speed = GPIO_SPEED_FREQ_LOW;
  HAL_GPIO_Init(GPIOD, &GPIO_InitStruct);

  /*Configure GPIO pins : I2S3_MCK_Pin I2S3_SCK_Pin I2S3_SD_Pin */
  GPIO_InitStruct.Pin = I2S3_MCK_Pin|I2S3_SCK_Pin|I2S3_SD_Pin;
  GPIO_InitStruct.Mode = GPIO_MODE_AF_PP;
  GPIO_InitStruct.Pull = GPIO_NOPULL;
  GPIO_InitStruct.Speed = GPIO_SPEED_FREQ_LOW;
  GPIO_InitStruct.Alternate = GPIO_AF6_SPI3;
  HAL_GPIO_Init(GPIOC, &GPIO_InitStruct);

  /*Configure GPIO pin : VBUS_FS_Pin */
  GPIO_InitStruct.Pin = VBUS_FS_Pin;
  GPIO_InitStruct.Mode = GPIO_MODE_INPUT;
  GPIO_InitStruct.Pull = GPIO_NOPULL;
  HAL_GPIO_Init(VBUS_FS_GPIO_Port, &GPIO_InitStruct);

  /*Configure GPIO pins : OTG_FS_ID_Pin OTG_FS_DM_Pin OTG_FS_DP_Pin */
  GPIO_InitStruct.Pin = OTG_FS_ID_Pin|OTG_FS_DM_Pin|OTG_FS_DP_Pin;
  GPIO_InitStruct.Mode = GPIO_MODE_AF_PP;
  GPIO_InitStruct.Pull = GPIO_NOPULL;
  GPIO_InitStruct.Speed = GPIO_SPEED_FREQ_LOW;
  GPIO_InitStruct.Alternate = GPIO_AF10_OTG_FS;
  HAL_GPIO_Init(GPIOA, &GPIO_InitStruct);

  /*Configure GPIO pin : OTG_FS_OverCurrent_Pin */
  GPIO_InitStruct.Pin = OTG_FS_OverCurrent_Pin;
  GPIO_InitStruct.Mode = GPIO_MODE_INPUT;
  GPIO_InitStruct.Pull = GPIO_NOPULL;
  HAL_GPIO_Init(OTG_FS_OverCurrent_GPIO_Port, &GPIO_InitStruct);

  /*Configure GPIO pins : Audio_SCL_Pin Audio_SDA_Pin */
  GPIO_InitStruct.Pin = Audio_SCL_Pin|Audio_SDA_Pin;
  GPIO_InitStruct.Mode = GPIO_MODE_AF_OD;
  GPIO_InitStruct.Pull = GPIO_PULLUP;
  GPIO_InitStruct.Speed = GPIO_SPEED_FREQ_LOW;
  GPIO_InitStruct.Alternate = GPIO_AF4_I2C1;
  HAL_GPIO_Init(GPIOB, &GPIO_InitStruct);

  /*Configure GPIO pin : MEMS_INT2_Pin */
  GPIO_InitStruct.Pin = MEMS_INT2_Pin;
  GPIO_InitStruct.Mode = GPIO_MODE_EVT_RISING;
  GPIO_InitStruct.Pull = GPIO_NOPULL;
  HAL_GPIO_Init(MEMS_INT2_GPIO_Port, &GPIO_InitStruct);

}

/* USER CODE BEGIN 4 */

/**
  * @brief  This function takes 1 adc sample, filter, and store in data array
	* @param  ADC_HandleTypeDef* hadc
	* @retval none
  */

void HAL_ADC_ConvCpltCallback(ADC_HandleTypeDef* hadc)
{
		adc_val = HAL_ADC_GetValue(&hadc1);
		float test = (float)(adc_val*3.0/4096.0);           // if 12 bit resolution we need to divide by 2^12 !!
		FIR_C(test, &filtered_adc);                  //filter ADC value
		data [sample] = filtered_adc;                //store filtered data in array
		sample ++;
		sample = sample % sampleNB;
}

/**
  * @brief  This function probes the keyPad
	* @param  None
	* @retval Returns the value pressed by the user (0-9, 10 for the * button, 11 for the # button)
  */

int readPad (){

	int keymap[4][3]=
	{
	{1, 2, 3},
	{4, 5, 6},
	{7, 8, 9},
	{10, 0, 11}
	};

	for (int i = 0; i < 4; i++){
		switch (i) {
			case 0 :
				HAL_GPIO_WritePin(GPIOC, Row_1_Pin, GPIO_PIN_SET);
				HAL_Delay (1);
				if (HAL_GPIO_ReadPin(GPIOE, Col_1_Pin) == 1){
					HAL_GPIO_WritePin(GPIOC, Row_1_Pin, GPIO_PIN_RESET);
					return keymap [i][0];
				}
				else if (HAL_GPIO_ReadPin(GPIOE, Col_2_Pin) == 1){
					HAL_GPIO_WritePin(GPIOC, Row_1_Pin, GPIO_PIN_RESET);
					return keymap [i][1];
				}
				else if (HAL_GPIO_ReadPin(GPIOE, Col_3_Pin) == 1){
					HAL_GPIO_WritePin(GPIOC, Row_1_Pin, GPIO_PIN_RESET);
					return keymap [i][2];
				}
				HAL_GPIO_WritePin(GPIOC, Row_1_Pin, GPIO_PIN_RESET);
			break;

			case 1:
				HAL_GPIO_WritePin(GPIOC, Row_2_Pin, GPIO_PIN_SET);
				HAL_Delay (1);
				if (HAL_GPIO_ReadPin(GPIOE, Col_1_Pin) == 1){
					HAL_GPIO_WritePin(GPIOC, Row_2_Pin, GPIO_PIN_RESET);
					return keymap [i][0];
				}
				else if (HAL_GPIO_ReadPin(GPIOE, Col_2_Pin) == 1){
					HAL_GPIO_WritePin(GPIOC, Row_2_Pin, GPIO_PIN_RESET);
					return keymap [i][1];
				}
				else if (HAL_GPIO_ReadPin(GPIOE, Col_3_Pin) == 1){
					HAL_GPIO_WritePin(GPIOC, Row_2_Pin, GPIO_PIN_RESET);
					return keymap [i][2];
				}
				HAL_GPIO_WritePin(GPIOC, Row_2_Pin, GPIO_PIN_RESET);
			break;

			case 2:
				HAL_GPIO_WritePin(GPIOB, Row_3_Pin, GPIO_PIN_SET);
				HAL_Delay (1);
				if (HAL_GPIO_ReadPin(GPIOE, Col_1_Pin) == 1){
					HAL_GPIO_WritePin(GPIOB, Row_3_Pin, GPIO_PIN_RESET);
					return keymap [i][0];
				}
				else if (HAL_GPIO_ReadPin(GPIOE, Col_2_Pin) == 1){
					HAL_GPIO_WritePin(GPIOB, Row_3_Pin, GPIO_PIN_RESET);
					return keymap [i][1];
				}
				else if (HAL_GPIO_ReadPin(GPIOE, Col_3_Pin) == 1){
					HAL_GPIO_WritePin(GPIOB, Row_3_Pin, GPIO_PIN_RESET);
					return keymap [i][2];
				}
				HAL_GPIO_WritePin(GPIOB, Row_3_Pin, GPIO_PIN_RESET);
			break;

			case 3:
				HAL_GPIO_WritePin(GPIOB, Row_4_Pin, GPIO_PIN_SET);
				HAL_Delay (1);
				if (HAL_GPIO_ReadPin(GPIOE, Col_1_Pin) == 1){
					HAL_GPIO_WritePin(GPIOB, Row_4_Pin, GPIO_PIN_RESET);
					return keymap [i][0];
				}
				else if (HAL_GPIO_ReadPin(GPIOE, Col_2_Pin) == 1){
					HAL_GPIO_WritePin(GPIOB, Row_4_Pin, GPIO_PIN_RESET);
					return keymap [i][1];
				}
				else if (HAL_GPIO_ReadPin(GPIOE, Col_3_Pin) == 1){
					HAL_GPIO_WritePin(GPIOB, Row_4_Pin, GPIO_PIN_RESET);
					return keymap [i][2];
				}
				HAL_GPIO_WritePin(GPIOB, Row_4_Pin, GPIO_PIN_RESET);
			break;

			default:

			break;

		}
	}
	return -1;
}

/**
  * @brief  This function displays a integer on one of the digits of a 7 segiment, 4 digit led display
	* @param  num: integer number to be displayed
						pos: the location in a 4 digit display,
  * @retval none
  */
void displayNum (int num, int pos) {       //function used to diplay a single digit on LED segments
	switch (num){
		case 0:
			HAL_GPIO_WritePin(GPIOD, Seg_A_Pin, GPIO_PIN_SET);
			HAL_GPIO_WritePin(GPIOD, Seg_B_Pin, GPIO_PIN_SET);
			HAL_GPIO_WritePin(GPIOD, Seg_C_Pin, GPIO_PIN_SET);
			HAL_GPIO_WritePin(GPIOD, Seg_D_Pin, GPIO_PIN_SET);
			HAL_GPIO_WritePin(GPIOB, Seg_E_Pin, GPIO_PIN_SET);
			HAL_GPIO_WritePin(GPIOB, Seg_F_Pin, GPIO_PIN_SET);
			HAL_GPIO_WritePin(GPIOB, Seg_G_Pin, GPIO_PIN_RESET);
			break;
		case 1:
			HAL_GPIO_WritePin(GPIOD, Seg_A_Pin, GPIO_PIN_RESET);
			HAL_GPIO_WritePin(GPIOD, Seg_B_Pin, GPIO_PIN_SET);
			HAL_GPIO_WritePin(GPIOD, Seg_C_Pin, GPIO_PIN_SET);
			HAL_GPIO_WritePin(GPIOD, Seg_D_Pin, GPIO_PIN_RESET);
			HAL_GPIO_WritePin(GPIOB, Seg_E_Pin, GPIO_PIN_RESET);
			HAL_GPIO_WritePin(GPIOB, Seg_F_Pin, GPIO_PIN_RESET);
			HAL_GPIO_WritePin(GPIOB, Seg_G_Pin, GPIO_PIN_RESET);
			break;
		case 2:
			HAL_GPIO_WritePin(GPIOD, Seg_A_Pin, GPIO_PIN_SET);
			HAL_GPIO_WritePin(GPIOD, Seg_B_Pin, GPIO_PIN_SET);
			HAL_GPIO_WritePin(GPIOD, Seg_C_Pin, GPIO_PIN_RESET);
			HAL_GPIO_WritePin(GPIOD, Seg_D_Pin, GPIO_PIN_SET);
			HAL_GPIO_WritePin(GPIOB, Seg_E_Pin, GPIO_PIN_SET);
			HAL_GPIO_WritePin(GPIOB, Seg_F_Pin, GPIO_PIN_RESET);
			HAL_GPIO_WritePin(GPIOB, Seg_G_Pin, GPIO_PIN_SET);
			break;

		case 3:
			HAL_GPIO_WritePin(GPIOD, Seg_A_Pin, GPIO_PIN_SET);
			HAL_GPIO_WritePin(GPIOD, Seg_B_Pin, GPIO_PIN_SET);
			HAL_GPIO_WritePin(GPIOD, Seg_C_Pin, GPIO_PIN_SET);
			HAL_GPIO_WritePin(GPIOD, Seg_D_Pin, GPIO_PIN_SET);
			HAL_GPIO_WritePin(GPIOB, Seg_E_Pin, GPIO_PIN_RESET);
			HAL_GPIO_WritePin(GPIOB, Seg_F_Pin, GPIO_PIN_RESET);
			HAL_GPIO_WritePin(GPIOB, Seg_G_Pin, GPIO_PIN_SET);
			break;

		case 4:
			HAL_GPIO_WritePin(GPIOD, Seg_A_Pin, GPIO_PIN_RESET);
			HAL_GPIO_WritePin(GPIOD, Seg_B_Pin, GPIO_PIN_SET);
			HAL_GPIO_WritePin(GPIOD, Seg_C_Pin, GPIO_PIN_SET);
			HAL_GPIO_WritePin(GPIOD, Seg_D_Pin, GPIO_PIN_RESET);
			HAL_GPIO_WritePin(GPIOB, Seg_E_Pin, GPIO_PIN_RESET);
			HAL_GPIO_WritePin(GPIOB, Seg_F_Pin, GPIO_PIN_SET);
			HAL_GPIO_WritePin(GPIOB, Seg_G_Pin, GPIO_PIN_SET);
			break;

		case 5:
			HAL_GPIO_WritePin(GPIOD, Seg_A_Pin, GPIO_PIN_SET);
			HAL_GPIO_WritePin(GPIOD, Seg_B_Pin, GPIO_PIN_RESET);
			HAL_GPIO_WritePin(GPIOD, Seg_C_Pin, GPIO_PIN_SET);
			HAL_GPIO_WritePin(GPIOD, Seg_D_Pin, GPIO_PIN_SET);
			HAL_GPIO_WritePin(GPIOB, Seg_E_Pin, GPIO_PIN_RESET);
			HAL_GPIO_WritePin(GPIOB, Seg_F_Pin, GPIO_PIN_SET);
			HAL_GPIO_WritePin(GPIOB, Seg_G_Pin, GPIO_PIN_SET);
			break;

		case 6:
			HAL_GPIO_WritePin(GPIOD, Seg_A_Pin, GPIO_PIN_SET);
			HAL_GPIO_WritePin(GPIOD, Seg_B_Pin, GPIO_PIN_RESET);
			HAL_GPIO_WritePin(GPIOD, Seg_C_Pin, GPIO_PIN_SET);
			HAL_GPIO_WritePin(GPIOD, Seg_D_Pin, GPIO_PIN_SET);
			HAL_GPIO_WritePin(GPIOB, Seg_E_Pin, GPIO_PIN_SET);
			HAL_GPIO_WritePin(GPIOB, Seg_F_Pin, GPIO_PIN_SET);
			HAL_GPIO_WritePin(GPIOB, Seg_G_Pin, GPIO_PIN_SET);
			break;

		case 7:
			HAL_GPIO_WritePin(GPIOD, Seg_A_Pin, GPIO_PIN_SET);
			HAL_GPIO_WritePin(GPIOD, Seg_B_Pin, GPIO_PIN_SET);
			HAL_GPIO_WritePin(GPIOD, Seg_C_Pin, GPIO_PIN_SET);
			HAL_GPIO_WritePin(GPIOD, Seg_D_Pin, GPIO_PIN_RESET);
			HAL_GPIO_WritePin(GPIOB, Seg_E_Pin, GPIO_PIN_RESET);
			HAL_GPIO_WritePin(GPIOB, Seg_F_Pin, GPIO_PIN_RESET);
			HAL_GPIO_WritePin(GPIOB, Seg_G_Pin, GPIO_PIN_RESET);
			break;

		case 8:
			HAL_GPIO_WritePin(GPIOD, Seg_A_Pin, GPIO_PIN_SET);
			HAL_GPIO_WritePin(GPIOD, Seg_B_Pin, GPIO_PIN_SET);
			HAL_GPIO_WritePin(GPIOD, Seg_C_Pin, GPIO_PIN_SET);
			HAL_GPIO_WritePin(GPIOD, Seg_D_Pin, GPIO_PIN_SET);
			HAL_GPIO_WritePin(GPIOB, Seg_E_Pin, GPIO_PIN_SET);
			HAL_GPIO_WritePin(GPIOB, Seg_F_Pin, GPIO_PIN_SET);
			HAL_GPIO_WritePin(GPIOB, Seg_G_Pin, GPIO_PIN_SET);
			break;
		case 9:
			HAL_GPIO_WritePin(GPIOD, Seg_A_Pin, GPIO_PIN_SET);
			HAL_GPIO_WritePin(GPIOD, Seg_B_Pin, GPIO_PIN_SET);
			HAL_GPIO_WritePin(GPIOD, Seg_C_Pin, GPIO_PIN_SET);
			HAL_GPIO_WritePin(GPIOD, Seg_D_Pin, GPIO_PIN_RESET);
			HAL_GPIO_WritePin(GPIOB, Seg_E_Pin, GPIO_PIN_RESET);
			HAL_GPIO_WritePin(GPIOB, Seg_F_Pin, GPIO_PIN_SET);
			HAL_GPIO_WritePin(GPIOB, Seg_G_Pin, GPIO_PIN_SET);
			break;
		case -1:
			HAL_GPIO_WritePin(GPIOD, Seg_A_Pin, GPIO_PIN_RESET);
			HAL_GPIO_WritePin(GPIOD, Seg_B_Pin, GPIO_PIN_RESET);
			HAL_GPIO_WritePin(GPIOD, Seg_C_Pin, GPIO_PIN_RESET);
			HAL_GPIO_WritePin(GPIOD, Seg_D_Pin, GPIO_PIN_RESET);
			HAL_GPIO_WritePin(GPIOB, Seg_E_Pin, GPIO_PIN_RESET);
			HAL_GPIO_WritePin(GPIOB, Seg_F_Pin, GPIO_PIN_RESET);
			HAL_GPIO_WritePin(GPIOB, Seg_G_Pin, GPIO_PIN_RESET);
			break;
		default :
			break;
	}

		switch (pos){
			case 0:
				HAL_GPIO_WritePin(GPIOE, Dig_1_Pin, GPIO_PIN_SET);
				HAL_GPIO_WritePin(GPIOE, Dig_2_Pin, GPIO_PIN_RESET);
				HAL_GPIO_WritePin(GPIOE, Dig_L_Pin, GPIO_PIN_RESET);
				HAL_GPIO_WritePin(GPIOE, Dig_3_Pin, GPIO_PIN_RESET);
				HAL_GPIO_WritePin(GPIOE, Dig_4_Pin, GPIO_PIN_RESET);
				HAL_GPIO_WritePin(GPIOB, Seg_DP_Pin, GPIO_PIN_RESET);
			break;
			case 1:
				HAL_GPIO_WritePin(GPIOE, Dig_1_Pin, GPIO_PIN_RESET);
				HAL_GPIO_WritePin(GPIOE, Dig_2_Pin, GPIO_PIN_SET);
				HAL_GPIO_WritePin(GPIOE, Dig_L_Pin, GPIO_PIN_RESET);
				HAL_GPIO_WritePin(GPIOE, Dig_3_Pin, GPIO_PIN_RESET);
				HAL_GPIO_WritePin(GPIOE, Dig_4_Pin, GPIO_PIN_RESET);
				HAL_GPIO_WritePin(GPIOB, Seg_DP_Pin, GPIO_PIN_SET);
			break;
			case 2:
				HAL_GPIO_WritePin(GPIOE, Dig_1_Pin, GPIO_PIN_RESET);
				HAL_GPIO_WritePin(GPIOE, Dig_2_Pin, GPIO_PIN_RESET);
				HAL_GPIO_WritePin(GPIOE, Dig_L_Pin, GPIO_PIN_RESET);
				HAL_GPIO_WritePin(GPIOE, Dig_3_Pin, GPIO_PIN_SET);
				HAL_GPIO_WritePin(GPIOE, Dig_4_Pin, GPIO_PIN_RESET);
				HAL_GPIO_WritePin(GPIOB, Seg_DP_Pin, GPIO_PIN_RESET);
			break;
			case 3 :
				HAL_GPIO_WritePin(GPIOE, Dig_1_Pin, GPIO_PIN_RESET);
				HAL_GPIO_WritePin(GPIOE, Dig_2_Pin, GPIO_PIN_RESET);
				HAL_GPIO_WritePin(GPIOE, Dig_L_Pin, GPIO_PIN_RESET);
				HAL_GPIO_WritePin(GPIOE, Dig_3_Pin, GPIO_PIN_RESET);
				HAL_GPIO_WritePin(GPIOE, Dig_4_Pin, GPIO_PIN_SET);
				HAL_GPIO_WritePin(GPIOB, Seg_DP_Pin, GPIO_PIN_RESET);
			break;
			case -1 :
				HAL_GPIO_WritePin(GPIOE, Dig_1_Pin, GPIO_PIN_RESET);
				HAL_GPIO_WritePin(GPIOE, Dig_2_Pin, GPIO_PIN_RESET);
				HAL_GPIO_WritePin(GPIOE, Dig_L_Pin, GPIO_PIN_RESET);
				HAL_GPIO_WritePin(GPIOE, Dig_3_Pin, GPIO_PIN_RESET);
				HAL_GPIO_WritePin(GPIOE, Dig_4_Pin, GPIO_PIN_RESET);
				HAL_GPIO_WritePin(GPIOB, Seg_DP_Pin, GPIO_PIN_RESET);
			break;
			default :
				break;
		}

}
/**
  * @brief  This is the FIR function from LAB 1
						Filters data using FIR to eliminate unwanted noise
	* @param  Input: data to be filtered
						Output: filtered data
  * @retval none
  */
void FIR_C(float Input, float *Output) {
	float coef [] = {0.2, 0.2, 0.2, 0.2, 0.2};          //coefficients -> SHOULD ADD UP TO 1 !
	float out = 0.0;
	for (int i = 4; i>0; i--){
		filterMemory[i] = filterMemory[i-1];
	}
	filterMemory [0] = Input;
	for (int i = 0; i<5; i++){
		out += coef[i]*filterMemory[i];
	}
	*Output = out;
}

/**
  * @brief  This is the C?math function from lab1
						calculates rms, max, min, min index, and max index from the given array
	* @param  inputArray: contains the samples to be analyzed
						outputArray: contains the array where the results are stored
						length: length of the input array
  * @retval none
  */
void C_math (float * inputArray, float * outputArray, int length){      //C_math function from lab 1

	float RMS=0;
	float maxVal = inputArray[0];
	float minVal = inputArray[0];
	int maxInd = 0;
	int minInd = 0;

	for (int i = 0; i< (length); i++){

		RMS += (inputArray[i])*(inputArray[i]);

		if ((inputArray[i]) > maxVal){
			maxVal = inputArray[i];
			maxInd = i;
		}
		if ((inputArray[i]) < minVal){
			minVal = (inputArray[i]);
			minInd = i;
		}
	}

	RMS = RMS/length;
	RMS = sqrt(RMS);

	outputArray [0]=RMS;
	outputArray [1]= maxVal;
	outputArray [2]= minVal;
	outputArray [3]= maxInd;
	outputArray [4]= minInd;

}

/**
  * @brief  detects a blue button press
  * @param  none
  * @retval returns 1 when button is pressed
						0 otherwise
  */
/*
int buttonPressed(){
	if ( HAL_GPIO_ReadPin(GPIOA, GPIO_PIN_0 ) == SET) {
		HAL_Delay(200);
		printf("button (pulled)!");
		return 1;
	}
	else
	{
		return 0;
	}
}
*/
/**
  * @brief  function used to display a float value on the LED segments
  * @param  num: the floating number to be displayed at digits 1, 2, and 3
*         	mode: the int thats displayed at the firist digit to indicate rms/min/max mode
  * @retval None
  */
void display (int mode, float num){     //
	float temp = num;
	int digit = (int) num;

	if (mode == -1){
		displayNum (-1, 0);
		displayNum (-1, 3);

		digit = digit % 10;
		displayNum (digit, 1); //display unit at location 1
		HAL_Delay(1);

		temp = num*10;
		digit = (int) temp;
		digit = digit % 10;
		displayNum (digit, 2); //display digit at location 2
		HAL_Delay(1);

	}
	else{
		displayNum (mode, 0); //display mode at location 0 (first LED display)
		HAL_Delay(1);

		digit = digit % 10;
		displayNum (digit, 1); //display unit at location 1
		HAL_Delay(1);

		temp = num*10;
		digit = (int) temp;
		digit = digit % 10;
		displayNum (digit, 2); //display digit at location 2
		HAL_Delay(1);

		temp = num*100;
		digit = (int) temp;
		digit = digit % 10;
		displayNum (digit, 3); //display digit at location 3
		HAL_Delay(1);
	}
}

/**
  * @brief  This update the padEntries table that stores the digits pad inputs
	* @param  newEnt : newly inputted digit
  * @retval None
  */

void updateEnt (int newEnt) {

	for (int i = 3; i>0; i--){
		padEntries[i] = padEntries [i-1];
	}
	padEntries [0] = newEnt;
}

/**
  * @brief  This is the controller function. It adjusts the PWM duty cycle according to the desired value
	* @param  current_period : the current duty cycle of the PWM
  * @retval None
  */

void set_highPeriods(int current_period){

	float rms = mathResults [0];
	float diff = dispNum - rms;

	if (dispNum < 1.4){
			if(diff > 0){
				if (diff > 0.5){
					current_period += 20;
				}
				if (diff > 0.2){
					current_period += 10;
				}
				else{
					current_period += 1;
				}
				if( current_period >= 1000 ){
					current_period = 1000;
				}
			}
			else if (diff < 0){
				if (diff < -0.5){
					current_period -= 20;
				}
				if (diff < -0.2){
					current_period -= 10;
				}
				else{
					current_period -= 1;
				}
				current_period -= 1;
				if( current_period <= 0 ){
					current_period = 0;
				}
			}
	}

	else {
		if(diff > 0){
				if (diff > 0.5){
					current_period += 40;
				}
				if (diff > 0.2){
					current_period += 40;
				}
				else{
					current_period += 10;
				}
				if( current_period >= 1000 ){
					current_period = 1000;
				}
			}
			else if (diff < 0){
				if (diff < -0.5){
					current_period -= 20;
				}
				if (diff < -0.2){
					current_period -= 10;
				}
				else{
					current_period -= 1;
				}
				current_period -= 1;
				if( current_period <= 0 ){
					current_period = 0;
				}
			}

	}

	if(diff*diff < 0.04){
		correctPeriod = 20;
	}
	else if(diff*diff < 0.01){
		correctPeriod = 3000;
	}
	else{
		correctPeriod = 10;
	}

	highPeriods = (int)current_period;
}

/* USER CODE END 4 */

/* StartDefaultTask function */
void StartDefaultTask(void const * argument)
{

  /* USER CODE BEGIN 5 */
  /* Infinite loop */
  for(;;)
  {
		if (padVal == 10){
			holdCount++;
		}
		else {
			holdCount = 0;
		}
		if (holdCount >= 50){

			state = SLEEP;

			HAL_TIM_PWM_Stop(&htim3, TIM_CHANNEL_1);   //power consumption
			HAL_ADC_Stop_IT(&hadc1);

			osThreadTerminate(defaultTaskHandle);

		}

    osDelay(50);
  }
  /* USER CODE END 5 */
}

/* Start_ADC_calc function */
void Start_ADC_calc(void const * argument)
{
  /* USER CODE BEGIN Start_ADC_calc */
  /* Infinite loop */
  for(;;)
  {

				C_math (&data[0], &mathResults [0], sampleNB);                //perform math operation on data to get RMS, min and max values

				set_highPeriods(highPeriods);

				htim3.Instance->CCR1 = highPeriods;									// sets the number of periods that the pwm wave is set to high

    osDelay(200);
  }
  /* USER CODE END Start_ADC_calc */
}

/* Start_display function */
void Start_display(void const * argument)
{
  /* USER CODE BEGIN Start_display */
  /* Infinite loop */
  for(;;)
  {

		switch (state){

			case WKEY1:
					display (-1, dispNum);
			break;

			case WKEY2:
				display (-1, dispNum);
			break;

			case WENTER:
				display (-1, dispNum);
			break;

			case DISPLAY:
				display (0, mathResults [0]);
			break;

			case SLEEP :
				displayNum (-1, -1);   //clear display
			break;
		}

    osDelay(10);
  }
  /* USER CODE END Start_display */
}

/* Start_PWM_control function */
void Start_PWM_control(void const * argument)
{
  for(;;)
  {
    osDelay(1);
  }
}

/* Start_state_control function */
void Start_state_control(void const * argument)
{
  /* USER CODE BEGIN Start_state_control */
  /* Infinite loop */

  for(;;)
  {
		dispNum = padEntries[0] + ((float)padEntries[1]/10);

		switch (state){

			case WKEY1 :
				if (padVal >= 0 && padVal < 10 && padFlag == 0){
					padEntries[0]=padVal;
					padFlag = 1;
				}
				else if (padVal == -1 && padFlag == 1){
					padFlag = 0;
					state = WKEY2;
				}
			break;

			case WKEY2 :
				if (padVal >= 0 && padVal < 10 && padFlag == 0){
					padEntries[1]=padVal;
					padFlag = 1;
				}
				else if (padVal == 10 && padFlag == 0){
					padEntries[0] = 0;
					padFlag = -1;
				}
				else if (padVal == -1){
					if (padFlag == 1){
						padFlag = 0;
						state = WENTER;
					}
					else if (padFlag == -1){
						padFlag = 0;
						state = WKEY1;
					}
				}
			break;

			case WENTER :
				if (padVal == 11 && padFlag == 0){
					padFlag = 1;
				}
				else if (padVal == 10 && padFlag == 0){
					padEntries[1] = 0;
					padFlag = -1;
				}
				else if (padVal == -1){
					if (padFlag == 1){
						padFlag = 0;

						state = DISPLAY;
					}
					else if (padFlag == -1){
						padFlag = 0;
						state = WKEY2;
					}
				}
			break;

			case DISPLAY :
				if (padVal == 11 && padFlag == 0){
					padFlag = 1;
				}
				else if (padVal == -1){
					if (padFlag == 1){
						padFlag = 0;
						padEntries[0] = 0;
						padEntries [1] = 0;
						state = WKEY1;
					}
				}

			break;

			case SLEEP :
				if (padVal == 11 && padFlag == 0){
					padFlag = 1;
				}
				else if (padVal == -1){
					if (padFlag == 1){
						padFlag = 0;
						padEntries[0] = 0;     //reset pad entries
						padEntries[1] = 0;

						HAL_TIM_PWM_Start(&htim3, TIM_CHANNEL_1);  //Restart PWM
						HAL_ADC_Start_IT(&hadc1);                  //Restart ADC

						osThreadDef(defaultTask, StartDefaultTask, osPriorityNormal, 0, 128);
						defaultTaskHandle = osThreadCreate(osThread(defaultTask), NULL);

						state = WKEY1;
					}
				}
			break;

		}

    osDelay(40);
  }
  /* USER CODE END Start_state_control */
}

/* Start_pad_read function */
void Start_pad_read(void const * argument)
{
  /* USER CODE BEGIN Start_pad_read */
  /* Infinite loop */
  for(;;)
  {

		padVal = readPad();

    osDelay(80);
  }
  /* USER CODE END Start_pad_read */
}

void _Error_Handler(char *file, int line)
{
  while(1)
  {
  }
}

/************************ (C) COPYRIGHT STMicroelectronics *****END OF FILE****/
